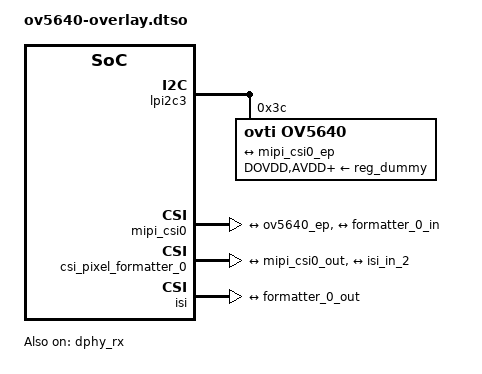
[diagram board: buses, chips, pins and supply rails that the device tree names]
// SPDX-License-Identifier: GPL-2.0-or-later
/*
 * i.MX95 camera capture overlay: an OV5640 MIPI CSI-2 sensor wired through the
 * MIPI CSI-2 receiver -> CSI pixel formatter -> ISI, modelled on the BSP's
 * imx95-19x19-evk-os08a20.dtso but using the ov5640 (the simplest in-tree MIPI
 * sensor: no firmware, just a chip-ID gate). The QEMU ov5640 model answers the
 * sensor I2C; the ISI model synthesises the frames. The sensor sits on lpi2c3
 * (i2c@42530000, a real LPI2C master in the machine, QEMU bus "lpi2c1").
 */

/dts-v1/;
/plugin/;

&{/} {
	cam_xclk: cam-xclk {
		compatible = "fixed-clock";
		#clock-cells = <0>;
		clock-frequency = <24000000>;
	};
};

&lpi2c3 {
	#address-cells = <1>;
	#size-cells = <0>;
	status = "okay";

	ov5640: ov5640@3c {
		compatible = "ovti,ov5640";
		reg = <0x3c>;
		clocks = <&cam_xclk>;
		clock-names = "xclk";
		DOVDD-supply = <&reg_dummy>;
		AVDD-supply = <&reg_dummy>;
		DVDD-supply = <&reg_dummy>;
		status = "okay";

		port {
			ov5640_ep: endpoint {
				remote-endpoint = <&mipi_csi0_ep>;
				bus-type = <4>;       /* MEDIA_BUS_TYPE_CSI2_DPHY */
				data-lanes = <1 2>;
				clock-lanes = <0>;
			};
		};
	};
};

&dphy_rx {
	status = "okay";
};

&mipi_csi0 {
	status = "okay";

	ports {
		#address-cells = <1>;
		#size-cells = <0>;

		port@0 {
			reg = <0>;
			mipi_csi0_ep: endpoint {
				remote-endpoint = <&ov5640_ep>;
				data-lanes = <1 2>;
				clock-lanes = <0>;
			};
		};

		port@1 {
			reg = <1>;
			mipi_csi0_out: endpoint {
				remote-endpoint = <&formatter_0_in>;
			};
		};
	};
};

&csi_pixel_formatter_0 {
	status = "okay";

	ports {
		#address-cells = <1>;
		#size-cells = <0>;

		port@0 {
			reg = <0>;
			formatter_0_in: endpoint {
				remote-endpoint = <&mipi_csi0_out>;
			};
		};

		port@1 {
			reg = <1>;
			formatter_0_out: endpoint {
				remote-endpoint = <&isi_in_2>;
			};
		};
	};
};

&isi {
	status = "okay";

	ports {
		#address-cells = <1>;
		#size-cells = <0>;

		port@2 {
			reg = <2>;
			isi_in_2: endpoint {
				remote-endpoint = <&formatter_0_out>;
			};
		};
	};
};
